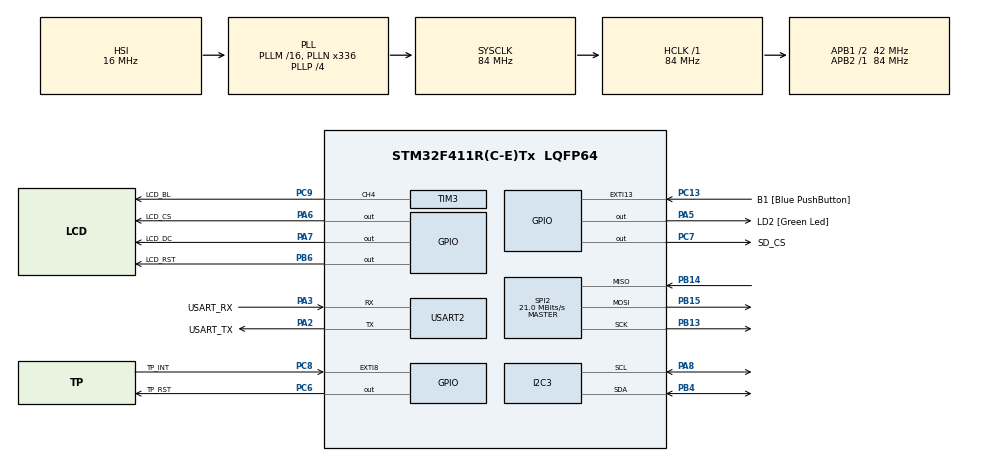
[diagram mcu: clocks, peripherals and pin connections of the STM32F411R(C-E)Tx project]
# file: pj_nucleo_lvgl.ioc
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Dma.Request0=SPI2_TX
Dma.SPI2_TX.0.Direction=DMA_MEMORY_TO_PERIPH
Dma.SPI2_TX.0.FIFOMode=DMA_FIFOMODE_DISABLE
Dma.SPI2_TX.0.Instance=DMA1_Stream4
Dma.SPI2_TX.0.MemDataAlignment=DMA_MDATAALIGN_BYTE
Dma.SPI2_TX.0.MemInc=DMA_MINC_ENABLE
Dma.SPI2_TX.0.Mode=DMA_NORMAL
Dma.SPI2_TX.0.PeriphDataAlignment=DMA_PDATAALIGN_BYTE
Dma.SPI2_TX.0.PeriphInc=DMA_PINC_DISABLE
Dma.SPI2_TX.0.Priority=DMA_PRIORITY_MEDIUM
FATFS._CODE_PAGE=936
FATFS._USE_FIND=1
FATFS._USE_LABEL=1
FATFS._USE_MUTEX=1
FREERTOS.Tasks01=defaultTask,24,128,StartDefaultTask,Default,NULL,Dynamic,NULL,NULL
Mcu.Family=STM32F4
Mcu.Name=STM32F411R(C-E)Tx
Mcu.Package=LQFP64
NVIC.DMA1_Stream4_IRQn=true\:5\:0\:false\:false\:true\:true\:false\:true\:true
NVIC.EXTI15_10_IRQn=true\:5\:0\:false\:false\:true\:true\:true\:true\:true
NVIC.EXTI9_5_IRQn=true\:5\:0\:false\:false\:true\:true\:true\:true\:true
NVIC.PriorityGroup=NVIC_PRIORITYGROUP_4
NVIC.SPI2_IRQn=true\:5\:0\:false\:false\:true\:true\:true\:true\:true
NVIC.TIM1_UP_TIM10_IRQn=true\:5\:0\:false\:false\:true\:false\:false\:true\:true
NVIC.TimeBase=TIM1_UP_TIM10_IRQn
NVIC.TimeBaseIP=TIM1
PA13.GPIO_Label=TMS
PA13.Mode=Serial_Wire
PA13.Signal=SYS_JTMS-SWDIO
PA14.GPIO_Label=TCK
PA14.Mode=Serial_Wire
PA14.Signal=SYS_JTCK-SWCLK
PA2.GPIO_Label=USART_TX
PA2.Mode=Asynchronous
PA2.Signal=USART2_TX
PA3.GPIO_Label=USART_RX
PA3.Mode=Asynchronous
PA3.Signal=USART2_RX
PA5.GPIO_Label=LD2 [Green Led]
PA5.Signal=GPIO_Output
PA6.GPIO_Label=LCD_CS
PA6.Signal=GPIO_Output
PA7.GPIO_Label=LCD_DC
PA7.Signal=GPIO_Output
PA8.Mode=I2C
PA8.Signal=I2C3_SCL
PB13.Mode=Full_Duplex_Master
PB13.Signal=SPI2_SCK
PB14.Mode=Full_Duplex_Master
PB14.Signal=SPI2_MISO
PB15.Mode=Full_Duplex_Master
PB15.Signal=SPI2_MOSI
PB3.Signal=SYS_JTDO-SWO
PB4.Mode=I2C
PB4.Signal=I2C3_SDA
PB6.GPIO_Label=LCD_RST
PB6.Signal=GPIO_Output
PC13-ANTI_TAMP.GPIO_Label=B1 [Blue PushButton]
PC13-ANTI_TAMP.GPIO_ModeDefaultEXTI=GPIO_MODE_IT_FALLING
PC13-ANTI_TAMP.Signal=GPXTI13
PC14-OSC32_IN.Mode=LSE-External-Oscillator
PC14-OSC32_IN.Signal=RCC_OSC32_IN
PC15-OSC32_OUT.Mode=LSE-External-Oscillator
PC15-OSC32_OUT.Signal=RCC_OSC32_OUT
PC6.GPIO_Label=TP_RST
PC6.Signal=GPIO_Output
PC7.GPIO_Label=SD_CS
PC7.Signal=GPIO_Output
PC8.GPIO_Label=TP_INT
PC8.GPIO_ModeDefaultEXTI=GPIO_MODE_IT_FALLING
PC8.GPIO_PuPd=GPIO_PULLUP
PC8.Signal=GPXTI8
PC9.GPIO_Label=LCD_BL
PC9.Signal=S_TIM3_CH4
PH0\ -\ OSC_IN.Mode=HSE-External-Clock-Source
PH0\ -\ OSC_IN.Signal=RCC_OSC_IN
PH1\ -\ OSC_OUT.Mode=HSE-External-Clock-Source
PH1\ -\ OSC_OUT.Signal=RCC_OSC_OUT
ProjectManager.HeapSize=0x200
ProjectManager.StackSize=0x400
ProjectManager.TargetToolchain=CMake
RCC.48MHZClocksFreq_Value=84000000
RCC.AHBFreq_Value=84000000
RCC.APB1CLKDivider=RCC_HCLK_DIV2
RCC.APB1Freq_Value=42000000
RCC.APB1TimFreq_Value=84000000
RCC.APB2Freq_Value=84000000
RCC.APB2TimFreq_Value=84000000
RCC.CortexFreq_Value=84000000
RCC.FLatency-AdvancedSettings=FLASH_LATENCY_2
RCC.HCLKFreq_Value=84000000
RCC.HSE_VALUE=8000000
RCC.HSI_VALUE=16000000
RCC.PLLN=336
RCC.PLLP=RCC_PLLP_DIV4
RCC.SYSCLKFreq_VALUE=84000000
RCC.SYSCLKSource=RCC_SYSCLKSOURCE_PLLCLK
RCC.VCOOutputFreq_Value=336000000
SH.S_TIM3_CH4.0=TIM3_CH4,PWM Generation4 CH4
SPI2.CalculateBaudRate=21.0 MBits/s
SPI2.Direction=SPI_DIRECTION_2LINES
SPI2.Mode=SPI_MODE_MASTER
SPI2.VirtualType=VM_MASTER
TIM3.AutoReloadPreload=TIM_AUTORELOAD_PRELOAD_ENABLE
TIM3.Channel-PWM\ Generation4\ CH4=TIM_CHANNEL_4
TIM3.Period=999
TIM3.Prescaler=83
TIM3.Pulse-PWM\ Generation4\ CH4=500
TIM3.TIM_MasterOutputTrigger=TIM_TRGO_UPDATE
USART2.VirtualMode=VM_ASYNC
VP_FATFS_VS_Generic.Mode=User_defined
VP_FREERTOS_VS_CMSIS_V2.Mode=CMSIS_V2
VP_SYS_VS_tim1.Mode=TIM1
VP_TIM3_VS_ClockSourceINT.Mode=Internal
board=NUCLEO-F411RE

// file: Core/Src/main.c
/* USER CODE BEGIN Header */
/**
  ******************************************************************************
  * @file           : main.c
  * @brief          : Main program body
  ******************************************************************************
  * @attention
  *
  * Copyright (c) 2026 STMicroelectronics.
  * All rights reserved.
  *
  * This software is licensed under terms that can be found in the LICENSE file
  * in the root directory of this software component.
  * If no LICENSE file comes with this software, it is provided AS-IS.
  *
  ******************************************************************************
  */
/* USER CODE END Header */
#include "main.h"
#include "cmsis_os.h"
#include "dma.h"
#include "fatfs.h"
#include "i2c.h"
#include "spi.h"
#include "tim.h"
#include "usart.h"
#include "gpio.h"

/* USER CODE BEGIN Includes */
#include "SEGGER_RTT.h"
/* USER CODE END Includes */

void SystemClock_Config(void);
void MX_FREERTOS_Init(void);

int main(void)
{

  /* MCU Configuration--------------------------------------------------------*/

  /* Reset of all peripherals, Initializes the Flash interface and the Systick. */
  HAL_Init();

  /* Configure the system clock */
  SystemClock_Config();

  /* Initialize all configured peripherals */
  MX_GPIO_Init();
  MX_DMA_Init();
  MX_USART2_UART_Init();
  MX_I2C3_Init();
  MX_SPI2_Init();
  MX_TIM3_Init();
  MX_FATFS_Init();
  /* USER CODE BEGIN 2 */
  SEGGER_RTT_printf(0, "%sLet's Try RTT in Nucleo! \r\n%s",RTT_CTRL_TEXT_RED,RTT_CTRL_RESET);
  /* USER CODE END 2 */

  /* Init scheduler */
  osKernelInitialize();  /* Call init function for freertos objects (in cmsis_os2.c) */
  MX_FREERTOS_Init();

  /* Start scheduler */
  osKernelStart();

  /* We should never get here as control is now taken by the scheduler */

  /* Infinite loop */
  while (1)
  {

  }
}

void SystemClock_Config(void)
{
  RCC_OscInitTypeDef RCC_OscInitStruct = {0};
  RCC_ClkInitTypeDef RCC_ClkInitStruct = {0};

  /** Configure the main internal regulator output voltage
  */
  __HAL_RCC_PWR_CLK_ENABLE();
  __HAL_PWR_VOLTAGESCALING_CONFIG(PWR_REGULATOR_VOLTAGE_SCALE1);

  /** Initializes the RCC Oscillators according to the specified parameters
  * in the RCC_OscInitTypeDef structure.
  */
  RCC_OscInitStruct.OscillatorType = RCC_OSCILLATORTYPE_HSI;
  RCC_OscInitStruct.HSIState = RCC_HSI_ON;
  RCC_OscInitStruct.HSICalibrationValue = RCC_HSICALIBRATION_DEFAULT;
  RCC_OscInitStruct.PLL.PLLState = RCC_PLL_ON;
  RCC_OscInitStruct.PLL.PLLSource = RCC_PLLSOURCE_HSI;
  RCC_OscInitStruct.PLL.PLLM = 16;
  RCC_OscInitStruct.PLL.PLLN = 336;
  RCC_OscInitStruct.PLL.PLLP = RCC_PLLP_DIV4;
  RCC_OscInitStruct.PLL.PLLQ = 4;
  if (HAL_RCC_OscConfig(&RCC_OscInitStruct) != HAL_OK)
  {
    Error_Handler();
  }

  /** Initializes the CPU, AHB and APB buses clocks
  */
  RCC_ClkInitStruct.ClockType = RCC_CLOCKTYPE_HCLK|RCC_CLOCKTYPE_SYSCLK
                              |RCC_CLOCKTYPE_PCLK1|RCC_CLOCKTYPE_PCLK2;
  RCC_ClkInitStruct.SYSCLKSource = RCC_SYSCLKSOURCE_PLLCLK;
  RCC_ClkInitStruct.AHBCLKDivider = RCC_SYSCLK_DIV1;
  RCC_ClkInitStruct.APB1CLKDivider = RCC_HCLK_DIV2;
  RCC_ClkInitStruct.APB2CLKDivider = RCC_HCLK_DIV1;

  if (HAL_RCC_ClockConfig(&RCC_ClkInitStruct, FLASH_LATENCY_2) != HAL_OK)
  {
    Error_Handler();
  }
}

void HAL_TIM_PeriodElapsedCallback(TIM_HandleTypeDef *htim)
{
  if (htim->Instance == TIM1)
  {
    HAL_IncTick();
  }
}

void Error_Handler(void)
{
  __disable_irq();
  while (1)
  {
  }
}

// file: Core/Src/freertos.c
/* USER CODE BEGIN Header */
/**
  ******************************************************************************
  * File Name          : freertos.c
  * Description        : Code for freertos applications
  ******************************************************************************
  * @attention
  *
  * Copyright (c) 2026 STMicroelectronics.
  * All rights reserved.
  *
  * This software is licensed under terms that can be found in the LICENSE file
  * in the root directory of this software component.
  * If no LICENSE file comes with this software, it is provided AS-IS.
  *
  ******************************************************************************
  */
/* USER CODE END Header */

#include "FreeRTOS.h"
#include "task.h"
#include "main.h"
#include "cmsis_os.h"

/* USER CODE BEGIN Includes */
#include "SEGGER_RTT.h"
#include "lcd.h"
#include "touchpad.h"
#include "fatfs.h"
/* USER CODE END Includes */

/* USER CODE BEGIN PM */
void my_print(lv_log_level_t level, const char * buf);
static void btn_event_cb(lv_event_t * e);
static void slider_event_cb(lv_event_t * e);
static void sd_btn_event_cb(lv_event_t * e);
static void file_list_event_cb(lv_event_t * e);
static void close_win_event_cb(lv_event_t * e);

static lv_obj_t * sldlabel;
static lv_obj_t * file_list_win = NULL;
/* USER CODE END PM */

/* USER CODE BEGIN Variables */
osThreadId_t lvglTaskHandle;
const osThreadAttr_t lvglTask_attributes = {
  .name = "lvglTask",
  .stack_size = 512 * 20,  // 增加栈大小以避免栈溢出
  .priority = (osPriority_t) osPriorityHigh,
};
lv_display_t * my_disp;

// Mutex for SPI2 access synchronization between FATFS and LVGL
osMutexId_t spi2_mutex;
const osMutexAttr_t spi2_mutex_attr = {
  "spi2_mutex",
  osMutexRecursive | osMutexPrioInherit,
  NULL,
  0
};

uint8_t wtext[] = "Hello from STM32 Nucleo + FATFS + SPI!"; /* File write buffer */
uint8_t rtext[_MAX_SS];                               /* File read buffer */
/* USER CODE END Variables */
/* Definitions for defaultTask */
osThreadId_t defaultTaskHandle;
const osThreadAttr_t defaultTask_attributes = {
  .name = "defaultTask",
  .stack_size = 128 * 8,
  .priority = (osPriority_t) osPriorityNormal,
};

/* USER CODE BEGIN FunctionPrototypes */
void StartLvglTask(void *argument);
/* USER CODE END FunctionPrototypes */

void StartDefaultTask(void *argument);

void MX_FREERTOS_Init(void); /* (MISRA C 2004 rule 8.1) */

void MX_FREERTOS_Init(void) {

  /* USER CODE BEGIN RTOS_MUTEX */
  /* add mutexes, ... */
  if (spi2_mutex == NULL) {
    spi2_mutex = osMutexNew(&spi2_mutex_attr);
  }
  /* USER CODE END RTOS_MUTEX */

  /* Create the thread(s) */
  /* creation of defaultTask */
  defaultTaskHandle = osThreadNew(StartDefaultTask, NULL, &defaultTask_attributes);

  /* USER CODE BEGIN RTOS_THREADS */
  /* add threads, ... */
  lvglTaskHandle = osThreadNew(StartLvglTask, NULL, &lvglTask_attributes);
  /* USER CODE END RTOS_THREADS */

}

void StartDefaultTask(void *argument)
{
  /* USER CODE BEGIN StartDefaultTask */
  FRESULT res;                                          /* FatFs function common result code */
  uint32_t byteswritten, bytesread;                     /* File write/read counts */

  SEGGER_RTT_printf(0, "\r\n--- FATFS SPI SD Card Example ---\r\n");

  /* 1. Mount SD Card */
  res = f_mount(&USERFatFS, (TCHAR const*)USERPath, 1);
  if (res != FR_OK) {
    SEGGER_RTT_printf(0, "f_mount error: %d\r\n", res);
  } else {
    SEGGER_RTT_printf(0, "f_mount success!\r\n");

    /* 2. Create and Open a new text file object with write access */
    res = f_open(&USERFile, "NUCLEO.TXT", FA_CREATE_ALWAYS | FA_WRITE);
    if (res != FR_OK) {
      SEGGER_RTT_printf(0, "f_open (write) error: %d\r\n", res);
    } else {
      SEGGER_RTT_printf(0, "f_open (write) success!\r\n");

      /* 3. Write data to the text file */
      res = f_write(&USERFile, wtext, sizeof(wtext), (void *)&byteswritten);
      if ((byteswritten == 0) || (res != FR_OK)) {
        SEGGER_RTT_printf(0, "f_write error: %d\r\n", res);
      } else {
        SEGGER_RTT_printf(0, "f_write success! written: %d bytes\r\n", byteswritten);
      }

      /* 4. Close the open text file */
      f_close(&USERFile);
    }

    /* 5. Open the text file object with read access */
    res = f_open(&USERFile, "NUCLEO.TXT", FA_READ);
    if (res != FR_OK) {
      SEGGER_RTT_printf(0, "f_open (read) error: %d\r\n", res);
    } else {
      SEGGER_RTT_printf(0, "f_open (read) success!\r\n");

      /* 6. Read data from the text file */
      res = f_read(&USERFile, rtext, sizeof(rtext) - 1, (UINT*)&bytesread);
      if ((bytesread == 0) || (res != FR_OK)) {
        SEGGER_RTT_printf(0, "f_read error: %d\r\n", res);
      } else {
        rtext[bytesread] = '\0'; /* Ensure null-terminated string */
        SEGGER_RTT_printf(0, "f_read success! read content: %s\r\n", rtext);
      }

      /* 7. Close the open text file */
      f_close(&USERFile);
    }

    /* 8. Unmount */
    // f_mount(NULL, (TCHAR const*)USERPath, 0);
  }

  /* Infinite loop */
  while(1)
  {
    osDelay(1000);
  }
  /* USER CODE END StartDefaultTask */
}

/* USER CODE BEGIN Application */

void StartLvglTask(void *argument)
{
  // 外设初始化
  // touch_data_t touch_data;
  if(DEV_ModuleInit() != 0)
  {
    SEGGER_RTT_printf(0, "DEV_ModuleInit failed.\r\n");
    DEV_ModuleExit();
  }

  // lvgl init
#if LV_USE_LOG
  lv_log_register_print_cb(my_print);
#endif
  lv_init();
#if LV_USE_LOG
  // lv_init 会清除 lv_log_register_print_cb 的 cb 需要再次注册 my_print
  lv_log_register_print_cb(my_print);
#endif
  lv_tick_set_cb(HAL_GetTick);
  lv_port_display_init();

  st7789_clear(0XF800);
  DEV_Delay_ms(500);
  st7789_clear(0X400);
  DEV_Delay_ms(500);
  st7789_clear(0xFFFF);

  lv_port_indev_init();

// 获取当前屏幕
  lv_obj_t * scr = lv_scr_act();
  // 设置屏幕背景（可选）
  lv_obj_set_style_bg_color(scr, lv_color_white(), 0);

  // 创建红色方块
  lv_obj_t * test_rect = lv_obj_create(scr);
  lv_obj_set_size(test_rect, 50, 50);
  lv_obj_set_style_bg_color(test_rect, lv_palette_main(LV_PALETTE_RED), 0);
  lv_obj_set_style_bg_opa(test_rect, LV_OPA_COVER, 0);
  lv_obj_align(test_rect, LV_ALIGN_TOP_LEFT, 0, 0);
  // 创建标签
  lv_obj_t * label = lv_label_create(scr);
  lv_label_set_text(label, "HI!");
  lv_obj_set_style_text_font(label, &lv_font_montserrat_20, 0);
  lv_obj_set_style_text_color(label, lv_palette_main(LV_PALETTE_RED), 0);
  lv_obj_align_to(label, test_rect, LV_ALIGN_OUT_RIGHT_MID, 10, 0);

  // 创建黄色方块
  lv_obj_t * test_rect1 = lv_obj_create(scr);
  lv_obj_set_size(test_rect1, 50, 50);
  lv_obj_set_style_bg_color(test_rect1, lv_palette_main(LV_PALETTE_YELLOW), 0);
  lv_obj_set_style_bg_opa(test_rect1, LV_OPA_COVER, 0);
  lv_obj_align(test_rect1, LV_ALIGN_BOTTOM_RIGHT, 0, 0);

  // 创建按钮
  lv_obj_t * btn = lv_button_create(lv_screen_active());     /*Add a button the current screen*/
  // lv_obj_set_pos(btn, 10, 10);                            /*Set its position*/
  lv_obj_align(btn, LV_ALIGN_BOTTOM_LEFT, 10,   -10);
  lv_obj_set_size(btn, 120, 50);                          /*Set its size*/
  lv_obj_add_event_cb(btn, btn_event_cb, LV_EVENT_CLICKED, NULL);           /*Assign a callback to the button*/

  lv_obj_t * bntlabel = lv_label_create(btn);          /*Add a label to the button*/
  lv_label_set_text(bntlabel, "Button");                     /*Set the labels text*/
  lv_obj_center(bntlabel);

  // 创建 SD 卡读取按钮
  lv_obj_t * sd_btn = lv_button_create(lv_screen_active());
  lv_obj_align(sd_btn, LV_ALIGN_TOP_RIGHT, -10, 10);
  lv_obj_set_size(sd_btn, 120, 50);
  lv_obj_add_event_cb(sd_btn, sd_btn_event_cb, LV_EVENT_CLICKED, NULL);

  lv_obj_t * sd_label = lv_label_create(sd_btn);
  lv_label_set_text(sd_label, "SD Files");
  lv_obj_center(sd_label);

/**
 * Create a slider and write its value on a label.
 */
  lv_obj_t * slider = lv_slider_create(lv_screen_active());
  lv_obj_set_width(slider, 200);                          /*Set the width*/
  lv_obj_center(slider);                                  /*Align to the center of the parent (screen)*/
  lv_obj_add_event_cb(slider, slider_event_cb, LV_EVENT_VALUE_CHANGED, NULL);     /*Assign an event function*/

  /*Create a label above the slider*/
  sldlabel = lv_label_create(lv_screen_active());
  lv_slider_set_value(slider, 50, LV_ANIM_OFF);
  lv_label_set_text(sldlabel, "bright:50");
  lv_obj_align_to(sldlabel, slider, LV_ALIGN_OUT_TOP_MID, 0, -15);    /*Align top of the slider*/

  /* Infinite loop */
  for(;;)
  {
    // if (get_touch_data(&touch_data))
    // {
    //   SEGGER_RTT_printf(0, "Touch Screen Detected\r\n");
    //   // printf("x: %d, y: %d \r\n", touch_data.coords[0].x, touch_data.coords[0].y);
    //   st7789_draw_rectangle(touch_data.coords[0].x, touch_data.coords[0].y, touch_data.coords[0].x + 10, touch_data.coords[0].y + 10, 0XF800);
    // }
    // DEV_Delay_ms(10);

    // LVGL MAIN JOB
    lv_timer_handler();
    osDelay(2);

  }
}

void my_print(lv_log_level_t level, const char * buf)
{
    if(__get_IPSR() != 0) return;  // 防止ISR调用

    const char * color;
    const char * tag;

    switch(level) {
        case LV_LOG_LEVEL_TRACE: color = "\x1B[90m"; tag = "[TRACE]"; break;
        case LV_LOG_LEVEL_INFO:  color = "\x1B[32m"; tag = "[INFO]";  break;
        case LV_LOG_LEVEL_WARN:  color = "\x1B[33m"; tag = "[WARN]";  break;
        case LV_LOG_LEVEL_ERROR: color = "\x1B[31m"; tag = "[ERROR]"; break;
        case LV_LOG_LEVEL_USER:  color = "\x1B[36m"; tag = "[USER]";  break;
        default: color = ""; tag = "[UNK]"; break;
    }

    SEGGER_RTT_printf(0, "%s%s\x1B[0m %s", color, tag, buf);
}

void vApplicationStackOverflowHook(TaskHandle_t xTask, char *pcTaskName)
{
    SEGGER_RTT_printf(0, "Stack overflow: %s\n", pcTaskName);
    while(1);
}

void vApplicationMallocFailedHook(void)
{
  SEGGER_RTT_printf(0, "malloc failed in task: %s\n", pcTaskGetName(NULL));
  while(1);
}

static void btn_event_cb(lv_event_t * e)
{
    lv_event_code_t code = lv_event_get_code(e);
    lv_obj_t * btn = lv_event_get_target_obj(e);
    if(code == LV_EVENT_CLICKED) {
        static uint8_t cnt = 0;
        cnt++;

        /*Get the first child of the button which is the label and change its text*/
        lv_obj_t * label = lv_obj_get_child(btn, 0);
        lv_label_set_text_fmt(label, "Button: %d", cnt);
    }
}
// 滑动条事件回调函数
static void slider_event_cb(lv_event_t * e)
{
    lv_obj_t * slider = lv_event_get_target_obj(e);

    /*Refresh the text*/
    uint8_t brightness = lv_slider_get_value(slider);
    lv_label_set_text_fmt(sldlabel, "bright:%d", brightness);
    lv_obj_align_to(sldlabel, slider, LV_ALIGN_OUT_TOP_MID, 0, -15);    /*Align top of the slider*/

    DEV_SetBacklight(brightness);
}

static void close_win_event_cb(lv_event_t * e)
{
    if(file_list_win) {
        lv_obj_delete(file_list_win);
        file_list_win = NULL;
    }
}

// 修正后的子窗口关闭逻辑
static void close_sub_win_cb(lv_event_t * e)
{
    lv_obj_t * win = (lv_obj_t *)lv_event_get_user_data(e);
    lv_obj_delete(win);
}

static void file_list_event_cb(lv_event_t * e)
{
    lv_obj_t * obj = lv_event_get_target_obj(e);
    const char * filename = lv_list_get_button_text(lv_obj_get_parent(obj), obj);

    SEGGER_RTT_printf(0, "Selected file: %s\r\n", filename);

    // 检查是否是 .txt 文件
    if(strstr(filename, ".TXT") || strstr(filename, ".txt")) {
        static FIL file;
        static FRESULT res;
        static UINT br;
        static char text_buf[512]; // 使用静态缓冲区避免频繁分配

        res = f_open(&file, filename, FA_READ);
        if(res == FR_OK) {
            f_read(&file, text_buf, sizeof(text_buf) - 1, &br);
            text_buf[br] = '\0';
            f_close(&file);

            lv_obj_t * win = lv_win_create(lv_screen_active());
            if(!win) {
                SEGGER_RTT_printf(0, "Failed to create file window\r\n");
                return;
            }
            lv_obj_set_size(win, 220, 220);
            lv_obj_center(win);
            lv_win_add_title(win, filename);
            lv_obj_t * btn = lv_win_add_button(win, LV_SYMBOL_CLOSE, 40);
            lv_obj_add_event_cb(btn, close_sub_win_cb, LV_EVENT_CLICKED, win);

            lv_obj_t * cont = lv_win_get_content(win);
            lv_obj_t * label = lv_label_create(cont);
            if(label) {
                lv_label_set_text(label, text_buf);
                lv_obj_set_width(label, lv_pct(100));
                lv_label_set_long_mode(label, LV_LABEL_LONG_WRAP);
            }
        } else {
            SEGGER_RTT_printf(0, "Failed to open file: %s, err: %d\r\n", filename, res);
        }
    }
}

static void sd_btn_event_cb(lv_event_t * e)
{
    static FRESULT res;
    static DIR dir;
    static FILINFO fno;

    // 如果窗口已打开，先关闭
    if(file_list_win) {
        lv_obj_delete(file_list_win);
        file_list_win = NULL;
    }

    // 重新挂载确保能读到最新状态（如果之前没挂载）
    res = f_mount(&USERFatFS, (TCHAR const*)USERPath, 1);
    if(res != FR_OK) {
        SEGGER_RTT_printf(0, "f_mount error: %d\r\n", res);
        return;
    }

    res = f_opendir(&dir, "/");
    if(res != FR_OK) {
        SEGGER_RTT_printf(0, "Failed to open root dir, err: %d\r\n", res);
        return;
    }

    // 创建列表窗口
    file_list_win = lv_win_create(lv_screen_active());
    if(!file_list_win) {
        SEGGER_RTT_printf(0, "Failed to create window\r\n");
        f_closedir(&dir);
        return;
    }
    lv_obj_set_size(file_list_win, 240, 240);
    lv_obj_center(file_list_win);
    lv_win_add_title(file_list_win, "SD Card Files");
    lv_obj_t * close_btn = lv_win_add_button(file_list_win, LV_SYMBOL_CLOSE, 40);
    lv_obj_add_event_cb(close_btn, close_win_event_cb, LV_EVENT_CLICKED, NULL);

    lv_obj_t * cont = lv_win_get_content(file_list_win);
    lv_obj_t * list = lv_list_create(cont);
    if(!list) {
        SEGGER_RTT_printf(0, "Failed to create list\r\n");
        f_closedir(&dir);
        return;
    }
    lv_obj_set_size(list, lv_pct(100), lv_pct(100));

    // 限制文件数量，避免创建过多UI元素
    uint8_t file_count = 0;
    while(1) {
        res = f_readdir(&dir, &fno);
        if(res != FR_OK || fno.fname[0] == 0) break;
        if(file_count >= 10) break;  // 限制最多显示10个文件

        lv_obj_t * btn;
        if(fno.fattrib & AM_DIR) {
            btn = lv_list_add_button(list, LV_SYMBOL_DIRECTORY, fno.fname);
        } else {
            btn = lv_list_add_button(list, LV_SYMBOL_FILE, fno.fname);
        }
        if(btn) {
            lv_obj_add_event_cb(btn, file_list_event_cb, LV_EVENT_CLICKED, NULL);
            file_count++;
        }
    }
    f_closedir(&dir);
    SEGGER_RTT_printf(0, "SD card scan completed, found %d files\r\n", file_count);
}

/* USER CODE END Application */
